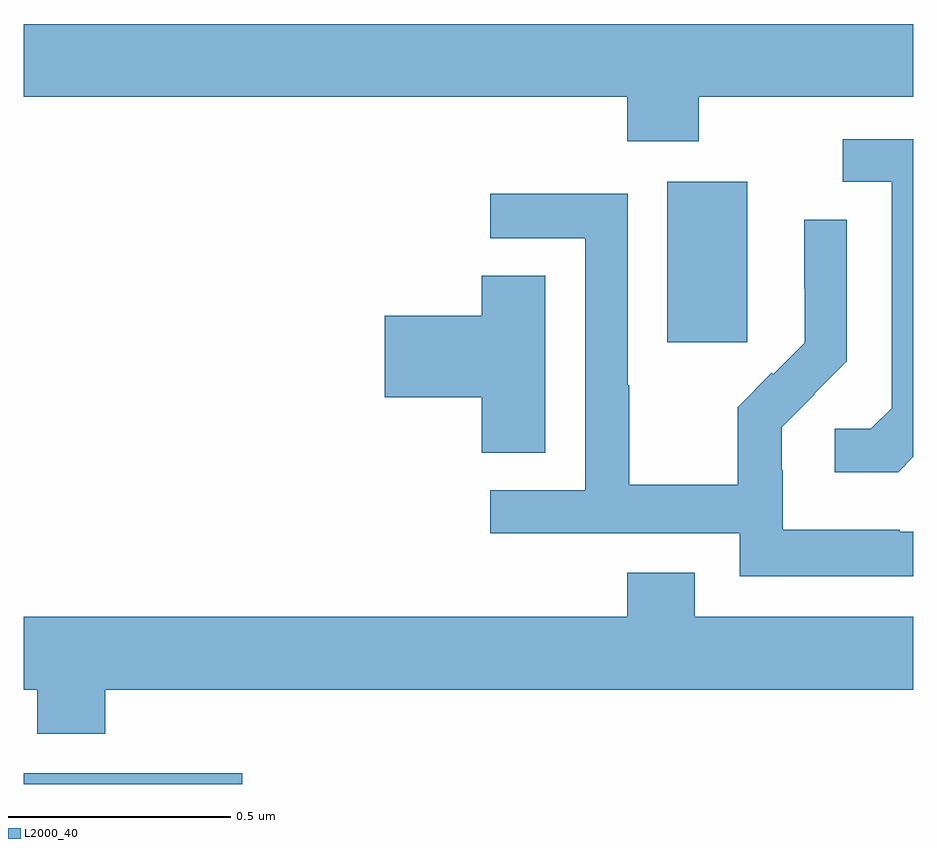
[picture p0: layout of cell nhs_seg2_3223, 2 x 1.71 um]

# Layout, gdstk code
import gdstk
lib = gdstk.Library(unit=1e-6, precision=1e-09)
def R(c, l, rs):  # rectangles x0, y0, x1, y1
    for r in rs: c.add(gdstk.rectangle(r[:2], r[2:], *l))
def P(c, l, *ps):  # polygons
    for p in ps: c.add(gdstk.Polygon(p, *l))
L2000_40 = (2000, 40)

nhs_seg2_3223 = lib.new_cell('nhs_seg2_3223')
R(nhs_seg2_3223, L2000_40, [(151,604.8,151.492,604.824), (152.447,605.793,152.626,606.154)])
P(nhs_seg2_3223, L2000_40, [(152.517,606.344),(153,606.344),(153,606.508),(151,606.508),(151,606.344),(152.357,606.344),(152.357,606.245),(152.517,606.245)],
  [(153,605.535),(153,606.249),(152.841,606.249),(152.841,606.153),(152.951,606.153),(152.951,605.645),(152.904,605.598),(152.823,605.598),(152.823,605.501),(152.966,605.501)],
  [(153,605.367),(152.969,605.367),(152.969,605.371),(152.706,605.371),(152.706,605.505),(152.704,605.505),(152.704,605.602),(152.778,605.676),(152.777,605.677),(152.85,605.75),(152.85,606.068),(152.754,606.068),(152.754,605.914),(152.756,605.914),(152.756,605.792),(152.685,605.721),(152.682,605.724),(152.605,605.647),(152.605,605.473),(152.361,605.473),(152.361,605.696),(152.358,605.696),(152.358,606.126),(152.049,606.126),(152.049,606.027),(152.262,606.027),(152.262,605.46),(152.049,605.46),(152.049,605.364),(152.61,605.364),(152.61,605.267),(153,605.267)],
  [(152.173,605.942),(152.03,605.942),(152.03,605.852),(151.812,605.852),(151.812,605.669),(152.03,605.669),(152.03,605.545),(152.173,605.545)],
  [(151.184,605.012),(153,605.012),(153,605.176),(152.509,605.176),(152.509,605.275),(152.357,605.275),(152.357,605.176),(151,605.176),(151,605.012),(151.031,605.012),(151.031,604.913),(151.184,604.913)])

lib.write_gds('nhs_seg2_3223.gds')
